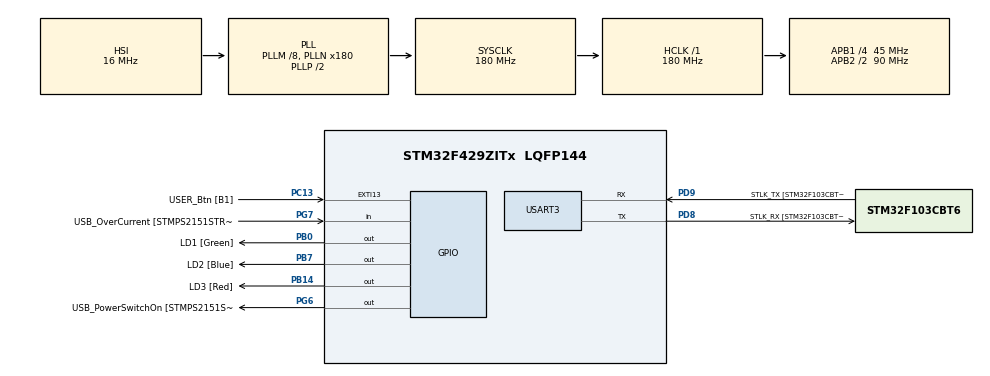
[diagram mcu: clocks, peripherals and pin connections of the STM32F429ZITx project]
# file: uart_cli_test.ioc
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Mcu.Family=STM32F4
Mcu.Name=STM32F429ZITx
Mcu.Package=LQFP144
NVIC.PriorityGroup=NVIC_PRIORITYGROUP_4
NVIC.USART3_IRQn=true\:0\:0\:false\:false\:true\:true\:true\:true
PA1.GPIO_Label=RMII_REF_CLK [LAN8742A-CZ-TR_REFCLK0]
PA1.Signal=ETH_REF_CLK
PA10.GPIO_Label=USB_ID
PA10.Signal=USB_OTG_FS_ID
PA11.GPIO_Label=USB_DM
PA11.Signal=USB_OTG_FS_DM
PA12.GPIO_Label=USB_DP
PA12.Signal=USB_OTG_FS_DP
PA13.GPIO_Label=TMS
PA13.Mode=Serial_Wire
PA13.Signal=SYS_JTMS-SWDIO
PA14.GPIO_Label=TCK
PA14.Mode=Serial_Wire
PA14.Signal=SYS_JTCK-SWCLK
PA2.GPIO_Label=RMII_MDIO [LAN8742A-CZ-TR_MDIO]
PA2.Signal=ETH_MDIO
PA7.GPIO_Label=RMII_CRS_DV [LAN8742A-CZ-TR_CRS_DV]
PA7.Signal=ETH_CRS_DV
PA8.GPIO_Label=USB_SOF [TP1]
PA8.Signal=USB_OTG_FS_SOF
PA9.GPIO_Label=USB_VBUS
PA9.Signal=USB_OTG_FS_VBUS
PB0.GPIO_Label=LD1 [Green]
PB0.Signal=GPIO_Output
PB13.GPIO_Label=RMII_TXD1 [LAN8742A-CZ-TR_TXD1]
PB13.Signal=ETH_TXD1
PB14.GPIO_Label=LD3 [Red]
PB14.Signal=GPIO_Output
PB7.GPIO_Label=LD2 [Blue]
PB7.Signal=GPIO_Output
PC1.GPIO_Label=RMII_MDC [LAN8742A-CZ-TR_MDC]
PC1.Signal=ETH_MDC
PC13.GPIO_Label=USER_Btn [B1]
PC13.Signal=GPXTI13
PC14/OSC32_IN.Mode=LSE-External-Oscillator
PC14/OSC32_IN.Signal=RCC_OSC32_IN
PC15/OSC32_OUT.Mode=LSE-External-Oscillator
PC15/OSC32_OUT.Signal=RCC_OSC32_OUT
PC4.GPIO_Label=RMII_RXD0 [LAN8742A-CZ-TR_RXD0]
PC4.Signal=ETH_RXD0
PC5.GPIO_Label=RMII_RXD1 [LAN8742A-CZ-TR_RXD1]
PC5.Signal=ETH_RXD1
PD8.GPIO_Label=STLK_RX [STM32F103CBT6_PA3]
PD8.Mode=Asynchronous
PD8.Signal=USART3_TX
PD9.GPIO_Label=STLK_TX [STM32F103CBT6_PA2]
PD9.Mode=Asynchronous
PD9.Signal=USART3_RX
PG11.GPIO_Label=RMII_TX_EN [LAN8742A-CZ-TR_TXEN]
PG11.Signal=ETH_TX_EN
PG13.GPIO_Label=RMII_TXD0 [LAN8742A-CZ-TR_TXD0]
PG13.Signal=ETH_TXD0
PG6.GPIO_Label=USB_PowerSwitchOn [STMPS2151STR_EN]
PG6.Signal=GPIO_Output
PG7.GPIO_Label=USB_OverCurrent [STMPS2151STR_FAULT]
PG7.Signal=GPIO_Input
PH0/OSC_IN.GPIO_Label=MCO [STM32F103CBT6_PA8]
PH0/OSC_IN.Signal=RCC_OSC_IN
ProjectManager.HeapSize=0x200
ProjectManager.StackSize=0x400
ProjectManager.TargetToolchain=STM32CubeIDE
RCC.48MHZClocksFreq_Value=51428571.428571425
RCC.AHBFreq_Value=180000000
RCC.APB1CLKDivider=RCC_HCLK_DIV4
RCC.APB1Freq_Value=45000000
RCC.APB1TimFreq_Value=90000000
RCC.APB2CLKDivider=RCC_HCLK_DIV2
RCC.APB2Freq_Value=90000000
RCC.APB2TimCLKDivider=2
RCC.APB2TimFreq_Value=180000000
RCC.CortexFreq_Value=180000000
RCC.HCLKFreq_Value=180000000
RCC.HSE_VALUE=8000000
RCC.HSI_VALUE=16000000
RCC.PLLM=8
RCC.PLLMUL=RCC_PLL_MUL9
RCC.PLLN=180
RCC.PLLQ=7
RCC.PRESCALERUSB=RCC_USBCLKSOURCE_PLL_DIV1_5
RCC.RCC_RTC_Clock_Source=RCC_RTCCLKSOURCE_LSE
RCC.SYSCLKFreq_VALUE=180000000
RCC.SYSCLKSource=RCC_SYSCLKSOURCE_PLLCLK
RCC.SYSCLKSourceVirtual=RCC_SYSCLKSOURCE_PLLCLK
RCC.USBFreq_Value=48000000
RCC.VCOOutputFreq_Value=360000000
USART3.VirtualMode=VM_ASYNC
VP_RTC_VS_RTC_Activate.Mode=RTC_Enabled
board=NUCLEO-F429ZI

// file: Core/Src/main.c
/* USER CODE BEGIN Header */
/**
  ******************************************************************************
  * @file           : main.c
  * @brief          : Main program body
  ******************************************************************************
  * @attention
  *
  * Copyright (c) 2022 STMicroelectronics.
  * All rights reserved.
  *
  * This software is licensed under terms that can be found in the LICENSE file
  * in the root directory of this software component.
  * If no LICENSE file comes with this software, it is provided AS-IS.
  *
  ******************************************************************************
  */
/* USER CODE END Header */
#include "main.h"
#include "rtc.h"
#include "usart.h"
#include "gpio.h"

/* USER CODE BEGIN Includes */
#include <stdio.h>
#include <string.h>

/* USER CODE END Includes */

/* USER CODE BEGIN PTD */
#define MAX_CMD_NUM 10
#define BUF_LEN     128
#define ON			1
#define OFF			0
typedef int cmd_func(int argc, char* argv[]);
struct Command_List
{
	char* cmd;
	cmd_func* func;
	char* help_str;
};
/* USER CODE END PTD */

/* USER CODE BEGIN PM */
#ifdef __GNUC__
  /* With GCC, small printf (option LD Linker->Libraries->Small printf
     set to 'Yes') calls __io_putchar() */
  #define PUTCHAR_PROTOTYPE int __io_putchar(int ch)
#else
  #define PUTCHAR_PROTOTYPE int fputc(int ch, FILE *f)
#endif /* __GNUC__ */
PUTCHAR_PROTOTYPE
{
  /* Place your implementation of fputc here */
  /* e.g. write a character to the EVAL_COM1 and Loop until the end of transmission */
  HAL_UART_Transmit(&huart3, (uint8_t *)&ch, 1, 0xFFFF);

  return ch;
}
/* USER CODE END PM */

/* USER CODE BEGIN PV */
#define BUFSIZE 30
uint8_t rx3_data;
uint8_t rx3buf[BUFSIZE];

uint8_t bufindex = 0;
uint8_t rx_start = 0;
uint8_t rx_complete = 0;

/* USER CODE END PV */

void SystemClock_Config(void);
/* USER CODE BEGIN PFP */
int cmd_torque(int argc, char* argv[])
{
	if (argv[1] == NULL) {
		printf("wrong command pattern. \n");
	}
	else {
		if (!strcmp(argv[1], "on")) {
			printf("torque on. \n");
		}
		else if (!strcmp(argv[1], "off")) {
			printf("torque off. \n");
		}
	}

	return 0;
}

int cdm_pump(int argc, char* argv[])
{
	if (argv[1] == NULL) {
		printf("wrong command pattern. \n");
	}
	else {
		if (!strcmp(argv[1], "on")) {
			printf("pump on. \n");
		}
		else if (!strcmp(argv[1], "off")) {
			printf("pump off. \n");
		}
	}

	return 0;
}

int cmd_conveyorBelt(int argc, char* argv[])
{
	if (argv[1] == NULL) {
		printf("wrong command pattern. \n");
	}
	else {
		if (!strcmp(argv[1], "on")) {
			if (argv[2] == NULL) {
				printf("wrong command pattern. \n");
			}
			else {
				if (!strcmp(argv[2], "right")) {
					printf("conveyor belt turn endlessly right. \n");
				}
				else if (!strcmp(argv[2], "left")) {
					printf("conveyor belt turn endlessly left. \n");
				}else {
					printf("wrong command pattern. \n");
				}
			}
		}
		else if (!strcmp(argv[1], "off")) {
			printf("conveyor belt stop. \n");
		}
	}

	return 0;
}

int cmd_pick(int argc, char* argv[])
{
	printf("pick up item on the conveyor belt. \n");
	return 0;
}

int cmd_throw(int argc, char* argv[])
{
	printf("throw item away \n");
	return 0;
}

int cmd_exit(int argc, char* argv[])
{
	printf("exit command received \n");
	return 0;
}

void parse_input_string(char* input_string, int* argc, char* argv[])
{
	int found_arg = 1;
	int argn = 0;

	while (*input_string)
	{
		if (*input_string == '\n') {
			*input_string = '\0';
			break;
		}

		if (*input_string == ' ') {
			found_arg = 1;
			*input_string = '\0';
		}
		else if (found_arg) {
			argv[argn++] = input_string;
			found_arg = 0;
		}
		input_string++;
	}

	*argc = argn;
}

struct Command_List  CmdList[] =
{
	{"torque",	cmd_torque,	"on/off Torque"},
	{"pump",	cdm_pump,	"on/off Pump"},
	{"cvbelt",	cmd_conveyorBelt,	"on/off Conveyor Belt. right/left"},
	{"pick",	cmd_pick,	"no option. End effector Down + Pump On + default position"},
	{"throw",	cmd_throw,	"no option. Throw + default position"},
	{"exit",	cmd_exit,	"exit command"},
	{0,0,0}
};

void cmd_handler(char* cmd)
{
	struct Command_List* pCmdList = CmdList;

	uint32_t command_found = 0;

	int	  argc;
	char* argv[MAX_CMD_NUM] = { 0, };

	parse_input_string(cmd, &argc, argv);

	if (argc)
	{
		while (pCmdList->cmd)
		{
			if (!strcmp((const char*)pCmdList->cmd, (const char*)cmd))
			{
				command_found = 1;
				pCmdList->func(argc, argv);
				break;
			}
			++pCmdList;
		}
	}
	if (command_found == 0) printf("command not found!\n");
}

/* USER CODE END PFP */

int main(void)
{

  /* MCU Configuration--------------------------------------------------------*/

  /* Reset of all peripherals, Initializes the Flash interface and the Systick. */
  HAL_Init();

  /* Configure the system clock */
  SystemClock_Config();

  /* Initialize all configured peripherals */
  MX_GPIO_Init();
  MX_USART3_UART_Init();
  MX_RTC_Init();
  /* USER CODE BEGIN 2 */
  HAL_UART_Receive_IT(&huart3, &rx3_data, 1);
  printf("=====================\r\n");
  printf("Command Line Interface\r\n");
  printf("=====================\r\n");
  char temp[4]={0,};
  sprintf(temp, ">> ");
  HAL_UART_Transmit_IT(&huart3, (uint8_t*)temp, sizeof(temp));

  /* USER CODE END 2 */

  /* Infinite loop */
  /* USER CODE BEGIN WHILE */
  while (1)
  {
	  HAL_Delay(1000);
    /* USER CODE END WHILE */

  }
}

void SystemClock_Config(void)
{
  RCC_OscInitTypeDef RCC_OscInitStruct = {0};
  RCC_ClkInitTypeDef RCC_ClkInitStruct = {0};

  /** Configure the main internal regulator output voltage
  */
  __HAL_RCC_PWR_CLK_ENABLE();
  __HAL_PWR_VOLTAGESCALING_CONFIG(PWR_REGULATOR_VOLTAGE_SCALE1);

  /** Initializes the RCC Oscillators according to the specified parameters
  * in the RCC_OscInitTypeDef structure.
  */
  RCC_OscInitStruct.OscillatorType = RCC_OSCILLATORTYPE_HSI|RCC_OSCILLATORTYPE_LSE;
  RCC_OscInitStruct.LSEState = RCC_LSE_ON;
  RCC_OscInitStruct.HSIState = RCC_HSI_ON;
  RCC_OscInitStruct.HSICalibrationValue = RCC_HSICALIBRATION_DEFAULT;
  RCC_OscInitStruct.PLL.PLLState = RCC_PLL_ON;
  RCC_OscInitStruct.PLL.PLLSource = RCC_PLLSOURCE_HSI;
  RCC_OscInitStruct.PLL.PLLM = 8;
  RCC_OscInitStruct.PLL.PLLN = 180;
  RCC_OscInitStruct.PLL.PLLP = RCC_PLLP_DIV2;
  RCC_OscInitStruct.PLL.PLLQ = 7;
  if (HAL_RCC_OscConfig(&RCC_OscInitStruct) != HAL_OK)
  {
    Error_Handler();
  }

  /** Activate the Over-Drive mode
  */
  if (HAL_PWREx_EnableOverDrive() != HAL_OK)
  {
    Error_Handler();
  }

  /** Initializes the CPU, AHB and APB buses clocks
  */
  RCC_ClkInitStruct.ClockType = RCC_CLOCKTYPE_HCLK|RCC_CLOCKTYPE_SYSCLK
                              |RCC_CLOCKTYPE_PCLK1|RCC_CLOCKTYPE_PCLK2;
  RCC_ClkInitStruct.SYSCLKSource = RCC_SYSCLKSOURCE_PLLCLK;
  RCC_ClkInitStruct.AHBCLKDivider = RCC_SYSCLK_DIV1;
  RCC_ClkInitStruct.APB1CLKDivider = RCC_HCLK_DIV4;
  RCC_ClkInitStruct.APB2CLKDivider = RCC_HCLK_DIV2;

  if (HAL_RCC_ClockConfig(&RCC_ClkInitStruct, FLASH_LATENCY_5) != HAL_OK)
  {
    Error_Handler();
  }
}

/* USER CODE BEGIN 4 */
void HAL_UART_RxCpltCallback(UART_HandleTypeDef *huart)
{

	if(huart->Instance == USART3){
		if(rx3_data != '\n' && bufindex < BUFSIZE)
			rx3buf[bufindex++] = rx3_data;
		else {
			cmd_handler((char*)rx3buf);
			char temp[4]={0,};
			sprintf(temp, ">> ");
			HAL_UART_Transmit_IT(&huart3, (uint8_t*)temp, sizeof(temp));
			memset(rx3buf,0,sizeof(rx3buf));
			bufindex=0;

		}

		HAL_UART_Receive_IT(&huart3, &rx3_data, 1);
	}

}

/* USER CODE END 4 */

void Error_Handler(void)
{
  __disable_irq();
  while (1)
  {
  }
}
